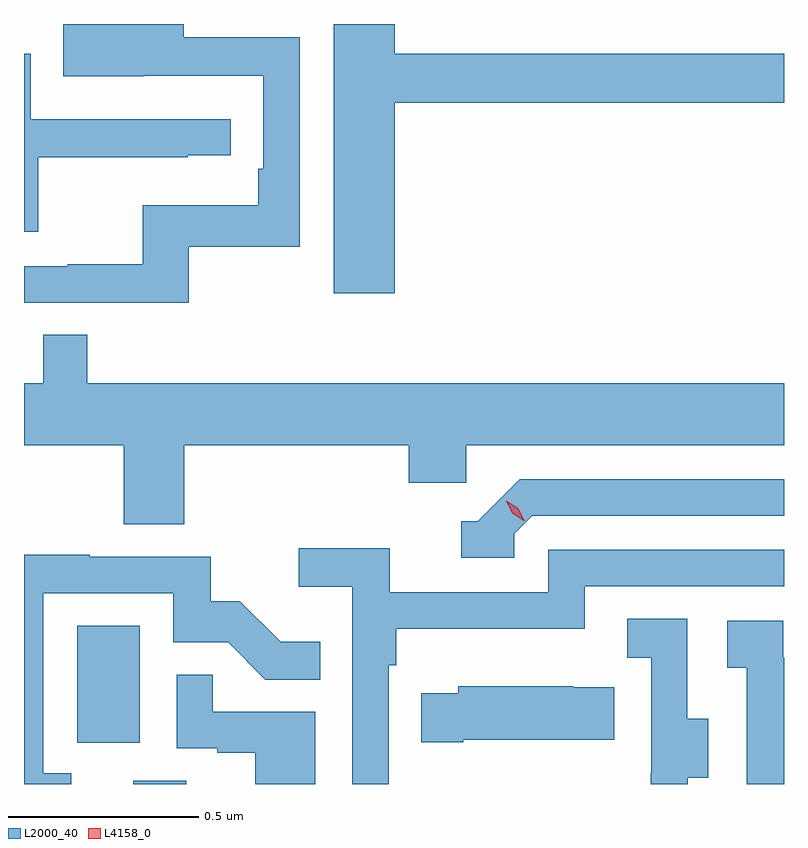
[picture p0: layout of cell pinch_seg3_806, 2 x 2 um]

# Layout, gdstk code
import gdstk
lib = gdstk.Library(unit=1e-6, precision=1e-09)
def R(c, l, rs):  # rectangles x0, y0, x1, y1
    for r in rs: c.add(gdstk.rectangle(r[:2], r[2:], *l))
def P(c, l, *ps):  # polygons
    for p in ps: c.add(gdstk.Polygon(p, *l))
L2000_40 = (2000, 40)
L4158_0 = (4158, 0)

pinch_seg3_806 = lib.new_cell('pinch_seg3_806')
R(pinch_seg3_806, L2000_40, [(818.591,708.017,818.731,708.026), (818.444,708.126,818.608,708.433)])
P(pinch_seg3_806, L2000_40, [(819.28,709.81),(820.304,709.81),(820.304,709.939),(819.28,709.939),(819.28,710.017),(819.119,710.017),(819.119,709.308),(819.28,709.308)],
  [(818.737,709.431),(819.03,709.431),(819.03,709.982),(818.725,709.982),(818.725,710.017),(818.407,710.017),(818.407,709.88),(818.621,709.88),(818.621,709.881),(818.934,709.881),(818.934,709.636),(818.921,709.636),(818.921,709.54),(818.616,709.54),(818.616,709.385),(818.419,709.385),(818.419,709.38),(818.304,709.38),(818.304,709.284),(818.737,709.284)],
  [(818.342,709.666),(818.735,709.666),(818.735,709.671),(818.848,709.671),(818.848,709.767),(818.322,709.767),(818.322,709.939),(818.304,709.939),(818.304,709.47),(818.342,709.47)],
  [(818.726,708.908),(819.317,708.908),(819.317,708.81),(819.468,708.81),(819.468,708.908),(820.304,708.908),(820.304,709.072),(818.471,709.072),(818.471,709.199),(818.355,709.199),(818.355,709.072),(818.304,709.072),(818.304,708.908),(818.566,708.908),(818.566,708.7),(818.726,708.7)],
  [(819.594,708.675),(819.642,708.723),(820.304,708.723),(820.304,708.819),(819.609,708.819),(819.498,708.708),(819.455,708.708),(819.455,708.612),(819.594,708.612)],
  [(819.264,708.329),(819.284,708.329),(819.284,708.425),(819.78,708.425),(819.78,708.537),(820.304,708.537),(820.304,708.633),(819.684,708.633),(819.684,708.522),(819.266,708.522),(819.266,708.638),(819.027,708.638),(819.027,708.536),(819.168,708.536),(819.168,708.017),(819.264,708.017)],
  [(818.428,708.045),(818.355,708.045),(818.355,708.519),(818.697,708.519),(818.697,708.39),(818.841,708.39),(818.939,708.292),(819.083,708.292),(819.083,708.391),(818.979,708.391),(818.872,708.498),(818.796,708.498),(818.796,708.615),(818.477,708.615),(818.477,708.62),(818.304,708.62),(818.304,708.017),(818.428,708.017)],
  [(820.051,708.034),(820.105,708.034),(820.105,708.189),(820.05,708.189),(820.05,708.452),(819.891,708.452),(819.891,708.349),(819.954,708.349),(819.954,708.045),(819.953,708.045),(819.953,708.017),(820.051,708.017)],
  [(820.304,708.349),(820.302,708.349),(820.302,708.447),(820.155,708.447),(820.155,708.323),(820.206,708.323),(820.206,708.017),(820.304,708.017)],
  [(819.07,708.207),(818.801,708.207),(818.801,708.305),(818.706,708.305),(818.706,708.111),(818.813,708.111),(818.813,708.099),(818.912,708.099),(818.912,708.017),(819.07,708.017)],
  [(819.46,708.134),(819.857,708.134),(819.857,708.271),(819.749,708.271),(819.749,708.274),(819.447,708.274),(819.447,708.256),(819.349,708.256),(819.349,708.127),(819.46,708.127)])
P(pinch_seg3_806, L4158_0, [(819.619,708.71),(819.589,708.73),(819.573,708.762),(819.573,708.763),(819.573,708.763),(819.604,708.743),(819.62,708.711),(819.62,708.71)])

lib.write_gds('pinch_seg3_806.gds')
